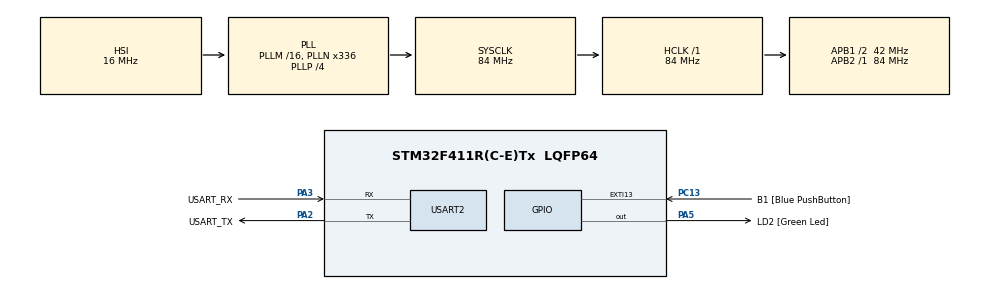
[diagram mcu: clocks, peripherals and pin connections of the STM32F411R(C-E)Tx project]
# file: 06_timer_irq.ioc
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Mcu.Family=STM32F4
Mcu.Name=STM32F411R(C-E)Tx
Mcu.Package=LQFP64
NVIC.EXTI15_10_IRQn=true\:0\:0\:false\:false\:true\:true\:true\:true
NVIC.PriorityGroup=NVIC_PRIORITYGROUP_0
NVIC.TIM2_IRQn=true\:0\:0\:false\:false\:true\:true\:true\:true
PA13.GPIO_Label=TMS
PA13.Mode=Serial_Wire
PA13.Signal=SYS_JTMS-SWDIO
PA14.GPIO_Label=TCK
PA14.Mode=Serial_Wire
PA14.Signal=SYS_JTCK-SWCLK
PA2.GPIO_Label=USART_TX
PA2.Mode=Asynchronous
PA2.Signal=USART2_TX
PA3.GPIO_Label=USART_RX
PA3.Mode=Asynchronous
PA3.Signal=USART2_RX
PA5.GPIO_Label=LD2 [Green Led]
PA5.Signal=GPIO_Output
PB3.GPIO_Label=SWO
PB3.Signal=SYS_JTDO-SWO
PC13-ANTI_TAMP.GPIO_Label=B1 [Blue PushButton]
PC13-ANTI_TAMP.GPIO_ModeDefaultEXTI=GPIO_MODE_IT_FALLING
PC13-ANTI_TAMP.Signal=GPXTI13
PC14-OSC32_IN.Mode=LSE-External-Oscillator
PC14-OSC32_IN.Signal=RCC_OSC32_IN
PC15-OSC32_OUT.Mode=LSE-External-Oscillator
PC15-OSC32_OUT.Signal=RCC_OSC32_OUT
PH0\ -\ OSC_IN.Mode=HSE-External-Clock-Source
PH0\ -\ OSC_IN.Signal=RCC_OSC_IN
PH1\ -\ OSC_OUT.Mode=HSE-External-Clock-Source
PH1\ -\ OSC_OUT.Signal=RCC_OSC_OUT
ProjectManager.HeapSize=0x200
ProjectManager.StackSize=0x400
ProjectManager.TargetToolchain=STM32CubeIDE
RCC.48MHZClocksFreq_Value=84000000
RCC.AHBFreq_Value=84000000
RCC.APB1CLKDivider=RCC_HCLK_DIV2
RCC.APB1Freq_Value=42000000
RCC.APB1TimFreq_Value=84000000
RCC.APB2Freq_Value=84000000
RCC.APB2TimFreq_Value=84000000
RCC.CortexFreq_Value=84000000
RCC.FLatency-AdvancedSettings=FLASH_LATENCY_2
RCC.HCLKFreq_Value=84000000
RCC.HSE_VALUE=8000000
RCC.HSI_VALUE=16000000
RCC.PLLN=336
RCC.PLLP=RCC_PLLP_DIV4
RCC.SYSCLKFreq_VALUE=84000000
RCC.SYSCLKSource=RCC_SYSCLKSOURCE_PLLCLK
RCC.VCOOutputFreq_Value=336000000
TIM2.Prescaler=8399
USART2.VirtualMode=VM_ASYNC
VP_TIM2_VS_ClockSourceINT.Mode=Internal
board=NUCLEO-F411RE

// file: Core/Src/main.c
/* USER CODE BEGIN Header */
/**
  ******************************************************************************
  * @file           : main.c
  * @brief          : Main program body
  ******************************************************************************
  * @attention
  *
  * Copyright (c) 2026 STMicroelectronics.
  * All rights reserved.
  *
  * This software is licensed under terms that can be found in the LICENSE file
  * in the root directory of this software component.
  * If no LICENSE file comes with this software, it is provided AS-IS.
  *
  ******************************************************************************
  */
/* USER CODE END Header */
#include "main.h"

TIM_HandleTypeDef htim2;

UART_HandleTypeDef huart2;

/* USER CODE BEGIN PV */
volatile uint8_t btn_flag = 0;
uint16_t arr_values[] = {9999,4999,2499};
uint8_t mode_index = 0;
/* USER CODE END PV */

void SystemClock_Config(void);
static void MX_GPIO_Init(void);
static void MX_USART2_UART_Init(void);
static void MX_TIM2_Init(void);

int main(void)
{

  /* MCU Configuration--------------------------------------------------------*/

  /* Reset of all peripherals, Initializes the Flash interface and the Systick. */
  HAL_Init();

  /* Configure the system clock */
  SystemClock_Config();

  /* Initialize all configured peripherals */
  MX_GPIO_Init();
  MX_USART2_UART_Init();
  MX_TIM2_Init();
  /* USER CODE BEGIN 2 */
  HAL_TIM_Base_Start_IT(&htim2);	// Запуск таймера
  /* USER CODE END 2 */

  /* Infinite loop */
  while (1)
  {

    /* USER CODE BEGIN 3 */
	 if(btn_flag) {
		 btn_flag = 0;
		 mode_index = (mode_index + 1) % 3;
		  __HAL_TIM_SET_COUNTER(&htim2, 0);
		  __HAL_TIM_SET_AUTORELOAD(&htim2, arr_values[mode_index]);
	  }
  }
  /* USER CODE END 3 */
}

void SystemClock_Config(void)
{
  RCC_OscInitTypeDef RCC_OscInitStruct = {0};
  RCC_ClkInitTypeDef RCC_ClkInitStruct = {0};

  /** Configure the main internal regulator output voltage
  */
  __HAL_RCC_PWR_CLK_ENABLE();
  __HAL_PWR_VOLTAGESCALING_CONFIG(PWR_REGULATOR_VOLTAGE_SCALE1);

  /** Initializes the RCC Oscillators according to the specified parameters
  * in the RCC_OscInitTypeDef structure.
  */
  RCC_OscInitStruct.OscillatorType = RCC_OSCILLATORTYPE_HSI;
  RCC_OscInitStruct.HSIState = RCC_HSI_ON;
  RCC_OscInitStruct.HSICalibrationValue = RCC_HSICALIBRATION_DEFAULT;
  RCC_OscInitStruct.PLL.PLLState = RCC_PLL_ON;
  RCC_OscInitStruct.PLL.PLLSource = RCC_PLLSOURCE_HSI;
  RCC_OscInitStruct.PLL.PLLM = 16;
  RCC_OscInitStruct.PLL.PLLN = 336;
  RCC_OscInitStruct.PLL.PLLP = RCC_PLLP_DIV4;
  RCC_OscInitStruct.PLL.PLLQ = 4;
  if (HAL_RCC_OscConfig(&RCC_OscInitStruct) != HAL_OK)
  {
    Error_Handler();
  }

  /** Initializes the CPU, AHB and APB buses clocks
  */
  RCC_ClkInitStruct.ClockType = RCC_CLOCKTYPE_HCLK|RCC_CLOCKTYPE_SYSCLK
                              |RCC_CLOCKTYPE_PCLK1|RCC_CLOCKTYPE_PCLK2;
  RCC_ClkInitStruct.SYSCLKSource = RCC_SYSCLKSOURCE_PLLCLK;
  RCC_ClkInitStruct.AHBCLKDivider = RCC_SYSCLK_DIV1;
  RCC_ClkInitStruct.APB1CLKDivider = RCC_HCLK_DIV2;
  RCC_ClkInitStruct.APB2CLKDivider = RCC_HCLK_DIV1;

  if (HAL_RCC_ClockConfig(&RCC_ClkInitStruct, FLASH_LATENCY_2) != HAL_OK)
  {
    Error_Handler();
  }
}

static void MX_TIM2_Init(void)
{

  TIM_ClockConfigTypeDef sClockSourceConfig = {0};
  TIM_MasterConfigTypeDef sMasterConfig = {0};

  htim2.Instance = TIM2;
  htim2.Init.Prescaler = 8399;
  htim2.Init.CounterMode = TIM_COUNTERMODE_UP;
  htim2.Init.Period = 9999;
  htim2.Init.ClockDivision = TIM_CLOCKDIVISION_DIV1;
  htim2.Init.AutoReloadPreload = TIM_AUTORELOAD_PRELOAD_DISABLE;
  if (HAL_TIM_Base_Init(&htim2) != HAL_OK)
  {
    Error_Handler();
  }
  sClockSourceConfig.ClockSource = TIM_CLOCKSOURCE_INTERNAL;
  if (HAL_TIM_ConfigClockSource(&htim2, &sClockSourceConfig) != HAL_OK)
  {
    Error_Handler();
  }
  sMasterConfig.MasterOutputTrigger = TIM_TRGO_RESET;
  sMasterConfig.MasterSlaveMode = TIM_MASTERSLAVEMODE_DISABLE;
  if (HAL_TIMEx_MasterConfigSynchronization(&htim2, &sMasterConfig) != HAL_OK)
  {
    Error_Handler();
  }

}

static void MX_USART2_UART_Init(void)
{

  huart2.Instance = USART2;
  huart2.Init.BaudRate = 115200;
  huart2.Init.WordLength = UART_WORDLENGTH_8B;
  huart2.Init.StopBits = UART_STOPBITS_1;
  huart2.Init.Parity = UART_PARITY_NONE;
  huart2.Init.Mode = UART_MODE_TX_RX;
  huart2.Init.HwFlowCtl = UART_HWCONTROL_NONE;
  huart2.Init.OverSampling = UART_OVERSAMPLING_16;
  if (HAL_UART_Init(&huart2) != HAL_OK)
  {
    Error_Handler();
  }

}

static void MX_GPIO_Init(void)
{
  GPIO_InitTypeDef GPIO_InitStruct = {0};

  /* GPIO Ports Clock Enable */
  __HAL_RCC_GPIOC_CLK_ENABLE();
  __HAL_RCC_GPIOH_CLK_ENABLE();
  __HAL_RCC_GPIOA_CLK_ENABLE();
  __HAL_RCC_GPIOB_CLK_ENABLE();

  /*Configure GPIO pin Output Level */
  HAL_GPIO_WritePin(LD2_GPIO_Port, LD2_Pin, GPIO_PIN_RESET);

  /*Configure GPIO pin : B1_Pin */
  GPIO_InitStruct.Pin = B1_Pin;
  GPIO_InitStruct.Mode = GPIO_MODE_IT_FALLING;
  GPIO_InitStruct.Pull = GPIO_NOPULL;
  HAL_GPIO_Init(B1_GPIO_Port, &GPIO_InitStruct);

  /*Configure GPIO pin : LD2_Pin */
  GPIO_InitStruct.Pin = LD2_Pin;
  GPIO_InitStruct.Mode = GPIO_MODE_OUTPUT_PP;
  GPIO_InitStruct.Pull = GPIO_NOPULL;
  GPIO_InitStruct.Speed = GPIO_SPEED_FREQ_LOW;
  HAL_GPIO_Init(LD2_GPIO_Port, &GPIO_InitStruct);

  /* EXTI interrupt init*/
  HAL_NVIC_SetPriority(EXTI15_10_IRQn, 0, 0);
  HAL_NVIC_EnableIRQ(EXTI15_10_IRQn);

}

/* USER CODE BEGIN 4 */
void HAL_TIM_PeriodElapsedCallback(TIM_HandleTypeDef *htim) {
	if(htim->Instance == TIM2) {
		HAL_GPIO_TogglePin(LD2_GPIO_Port, LD2_Pin);
	}
}

void HAL_GPIO_EXTI_Callback(uint16_t GPIO_Pin){
	if(GPIO_Pin == B1_Pin){
		btn_flag = 1;
	}
}
/* USER CODE END 4 */

void Error_Handler(void)
{
  __disable_irq();
  while (1)
  {
  }
}
